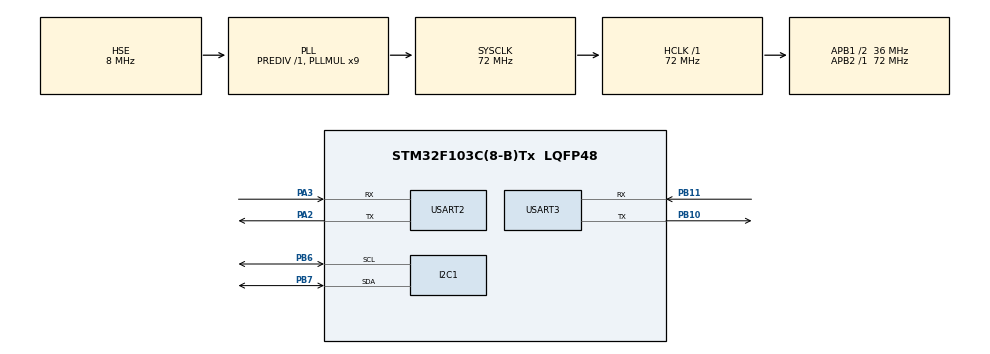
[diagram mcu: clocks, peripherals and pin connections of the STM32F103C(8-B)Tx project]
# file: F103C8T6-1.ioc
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Mcu.Family=STM32F1
Mcu.Name=STM32F103C(8-B)Tx
Mcu.Package=LQFP48
NVIC.I2C1_ER_IRQn=true\:0\:0\:false\:false\:true\:true\:true\:true
NVIC.I2C1_EV_IRQn=true\:0\:0\:false\:false\:true\:true\:true\:true
NVIC.PriorityGroup=NVIC_PRIORITYGROUP_4
NVIC.USART2_IRQn=true\:0\:0\:false\:false\:true\:true\:true\:true
NVIC.USART3_IRQn=true\:0\:0\:false\:false\:true\:true\:true\:true
PA13.Mode=Serial_Wire
PA13.Signal=SYS_JTMS-SWDIO
PA14.Mode=Serial_Wire
PA14.Signal=SYS_JTCK-SWCLK
PA2.Mode=Asynchronous
PA2.Signal=USART2_TX
PA3.Mode=Asynchronous
PA3.Signal=USART2_RX
PB10.Mode=Asynchronous
PB10.Signal=USART3_TX
PB11.Mode=Asynchronous
PB11.Signal=USART3_RX
PB6.Mode=I2C
PB6.Signal=I2C1_SCL
PB7.Mode=I2C
PB7.Signal=I2C1_SDA
PC14-OSC32_IN.Mode=LSE-External-Oscillator
PC14-OSC32_IN.Signal=RCC_OSC32_IN
PC15-OSC32_OUT.Mode=LSE-External-Oscillator
PC15-OSC32_OUT.Signal=RCC_OSC32_OUT
PD0-OSC_IN.Mode=HSE-External-Oscillator
PD0-OSC_IN.Signal=RCC_OSC_IN
PD1-OSC_OUT.Mode=HSE-External-Oscillator
PD1-OSC_OUT.Signal=RCC_OSC_OUT
ProjectManager.HeapSize=0x200
ProjectManager.StackSize=0x400
ProjectManager.TargetToolchain=MDK-ARM V5.32
RCC.AHBFreq_Value=72000000
RCC.APB1CLKDivider=RCC_HCLK_DIV2
RCC.APB1Freq_Value=36000000
RCC.APB1TimFreq_Value=72000000
RCC.APB2Freq_Value=72000000
RCC.APB2TimFreq_Value=72000000
RCC.HCLKFreq_Value=72000000
RCC.PLLMUL=RCC_PLL_MUL9
RCC.PLLSourceVirtual=RCC_PLLSOURCE_HSE
RCC.SYSCLKFreq_VALUE=72000000
RCC.SYSCLKSource=RCC_SYSCLKSOURCE_PLLCLK
RCC.USBFreq_Value=72000000
USART2.VirtualMode=VM_ASYNC
USART3.VirtualMode=VM_ASYNC
board=custom

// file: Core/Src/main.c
/* USER CODE BEGIN Header */
/**
  ******************************************************************************
  * @file           : main.c
  * @brief          : Main program body
  ******************************************************************************
  * @attention
  *
  * Copyright (c) 2023 STMicroelectronics.
  * All rights reserved.
  *
  * This software is licensed under terms that can be found in the LICENSE file
  * in the root directory of this software component.
  * If no LICENSE file comes with this software, it is provided AS-IS.
  *
  ******************************************************************************
  */
/* USER CODE END Header */
#include "main.h"
#include "i2c.h"
#include "usart.h"
#include "gpio.h"

/* USER CODE BEGIN Includes */
#include "mpu6050.h"
/* USER CODE END Includes */

/* USER CODE BEGIN PTD */
uint32_t Task_Delay[NumOfTask]={0};
/* USER CODE END PTD */

void SystemClock_Config(void);

int main(void)
{
  /* USER CODE BEGIN 1 */
	short aacx,aacy,aacz;														//加速度传感器原始数据
	short gyrox,gyroy,gyroz;	                      //陀螺仪原始数据
	float Temp;
  /* USER CODE END 1 */

  /* MCU Configuration--------------------------------------------------------*/

  /* Reset of all peripherals, Initializes the Flash interface and the Systick. */
  HAL_Init();

  /* Configure the system clock */
  SystemClock_Config();

  /* Initialize all configured peripherals */
  MX_GPIO_Init();
  MX_I2C1_Init();
  MX_USART2_UART_Init();
  MX_USART3_UART_Init();
  /* USER CODE BEGIN 2 */
	MPU6050_Init();
  /* USER CODE END 2 */

  /* Infinite loop */
  /* USER CODE BEGIN WHILE */
	if (MPU6050ReadID() == 1)		                    //检测MPU6050
	{
		while(1)
		{
			if(Task_Delay[0]==TASK_ENABLE)
			{
				Task_Delay[0]=1000;
			}

			if(Task_Delay[1]==0)
			{
				MPU6050ReadAcc(&aacx,&aacy,&aacz);
				printf("加速度：%lfg/%lfg/%lfg",aacx/16384.0,aacy/16384.0,aacz/16384.0);
				MPU6050ReadGyro(&gyrox,&gyroy,&gyroz);
				printf("    陀螺仪:%d/%d/%d",gyrox,gyroy,gyroz);
				MPU6050_ReturnTemp(&Temp);
				printf("    温度:%.2f℃\r\n",Temp);

				Task_Delay[1]=2000;                       //更新一次数据，可根据自己的需求，提高采样频率，如100ms采样一次
			}
		}
	}
	else
	{
		printf("\r\n没有检测到MPU6050传感器！\r\n");

		while(1);
    /* USER CODE END WHILE */

  }
}

void SystemClock_Config(void)
{
  RCC_OscInitTypeDef RCC_OscInitStruct = {0};
  RCC_ClkInitTypeDef RCC_ClkInitStruct = {0};

  /** Initializes the RCC Oscillators according to the specified parameters
  * in the RCC_OscInitTypeDef structure.
  */
  RCC_OscInitStruct.OscillatorType = RCC_OSCILLATORTYPE_HSE;
  RCC_OscInitStruct.HSEState = RCC_HSE_ON;
  RCC_OscInitStruct.HSEPredivValue = RCC_HSE_PREDIV_DIV1;
  RCC_OscInitStruct.HSIState = RCC_HSI_ON;
  RCC_OscInitStruct.PLL.PLLState = RCC_PLL_ON;
  RCC_OscInitStruct.PLL.PLLSource = RCC_PLLSOURCE_HSE;
  RCC_OscInitStruct.PLL.PLLMUL = RCC_PLL_MUL9;
  if (HAL_RCC_OscConfig(&RCC_OscInitStruct) != HAL_OK)
  {
    Error_Handler();
  }

  /** Initializes the CPU, AHB and APB buses clocks
  */
  RCC_ClkInitStruct.ClockType = RCC_CLOCKTYPE_HCLK|RCC_CLOCKTYPE_SYSCLK
                              |RCC_CLOCKTYPE_PCLK1|RCC_CLOCKTYPE_PCLK2;
  RCC_ClkInitStruct.SYSCLKSource = RCC_SYSCLKSOURCE_PLLCLK;
  RCC_ClkInitStruct.AHBCLKDivider = RCC_SYSCLK_DIV1;
  RCC_ClkInitStruct.APB1CLKDivider = RCC_HCLK_DIV2;
  RCC_ClkInitStruct.APB2CLKDivider = RCC_HCLK_DIV1;

  if (HAL_RCC_ClockConfig(&RCC_ClkInitStruct, FLASH_LATENCY_2) != HAL_OK)
  {
    Error_Handler();
  }
}

void Error_Handler(void)
{
  __disable_irq();
  while (1)
  {
  }
}
